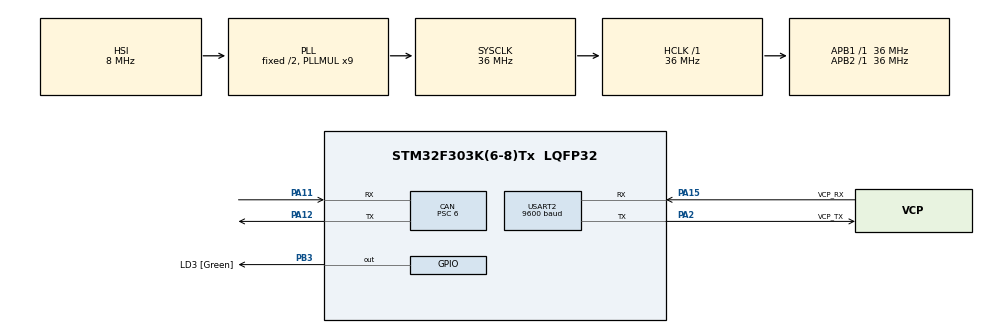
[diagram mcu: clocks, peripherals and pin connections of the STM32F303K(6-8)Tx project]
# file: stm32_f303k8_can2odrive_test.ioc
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CAN.BS1=CAN_BS1_10TQ
CAN.CalculateBaudRate=500000
CAN.CalculateTimeBit=1999.99
CAN.CalculateTimeQuantum=166.66666666666669
CAN.Prescaler=6
Mcu.Family=STM32F3
Mcu.Name=STM32F303K(6-8)Tx
Mcu.Package=LQFP32
NVIC.CAN_RX0_IRQn=true\:0\:0\:false\:false\:true\:true\:true
NVIC.CAN_TX_IRQn=true\:0\:0\:false\:false\:true\:true\:true
NVIC.PriorityGroup=NVIC_PRIORITYGROUP_4
NVIC.USART2_IRQn=true\:1\:0\:true\:false\:true\:true\:true
PA11.Mode=CAN_Activate
PA11.Signal=CAN_RX
PA12.GPIO_PuPd=GPIO_PULLUP
PA12.Mode=CAN_Activate
PA12.Signal=CAN_TX
PA13.GPIO_Label=SWDIO
PA13.Mode=Serial_Wire
PA13.Signal=SYS_JTMS-SWDIO
PA14.GPIO_Label=SWCLK
PA14.Mode=Serial_Wire
PA14.Signal=SYS_JTCK-SWCLK
PA15.GPIO_Label=VCP_RX
PA15.Mode=Asynchronous
PA15.Signal=USART2_RX
PA2.GPIO_Label=VCP_TX
PA2.Mode=Asynchronous
PA2.Signal=USART2_TX
PB3.GPIO_Label=LD3 [Green]
PB3.Signal=GPIO_Output
PF0\ /\ OSC_IN.GPIO_Label=MCO
PF0\ /\ OSC_IN.Mode=HSE-External-Clock-Source
PF0\ /\ OSC_IN.Signal=RCC_OSC_IN
ProjectManager.HeapSize=0x200
ProjectManager.StackSize=0x400
ProjectManager.TargetToolchain=STM32CubeIDE
RCC.AHBFreq_Value=36000000
RCC.APB1Freq_Value=36000000
RCC.APB1TimFreq_Value=36000000
RCC.APB2Freq_Value=36000000
RCC.APB2TimFreq_Value=36000000
RCC.CortexFreq_Value=36000000
RCC.HCLKFreq_Value=36000000
RCC.HSE_VALUE=8000000
RCC.HSI_VALUE=8000000
RCC.PLLMUL=RCC_PLL_MUL9
RCC.SYSCLKFreq_VALUE=36000000
RCC.SYSCLKSourceVirtual=RCC_SYSCLKSOURCE_PLLCLK
USART2.BaudRate=9600
USART2.VirtualMode-Asynchronous=VM_ASYNC
board=NUCLEO-F303K8

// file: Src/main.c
/* USER CODE BEGIN Header */
/**
  ******************************************************************************
  * @file           : main.c
  * @brief          : Main program body
  ******************************************************************************
  * @attention
  *
  * <h2><center>&copy; Copyright (c) 2019 STMicroelectronics.
  * All rights reserved.</center></h2>
  *
  * This software component is licensed by ST under BSD 3-Clause license,
  * the "License"; You may not use this file except in compliance with the
  * License. You may obtain a copy of the License at:
  *                        opensource.org/licenses/BSD-3-Clause
  *
  ******************************************************************************
  */
/* USER CODE END Header */
#include "main.h"

/* USER CODE BEGIN Includes */
#include <stdlib.h>
/* USER CODE END Includes */

CAN_HandleTypeDef hcan;

UART_HandleTypeDef huart2;

/* USER CODE BEGIN PV */

CAN_FilterTypeDef sFilterConfig;
CAN_TxHeaderTypeDef TxHeader;
//CAN_RxHeaderTypeDef RxHeader;
uint8_t TxData[8];
uint8_t RxData[8]={0};
int set_point=10;
int enc_data;
uint8_t gUartReceived=0;
uint32_t TxMailbox;
uint8_t motor_num = 0x010; //odrive axis node id
uint8_t control_mode = 0x00C;//control mode
//uint8_t control_mode = 0x007; //Set Axis Requested State
//uint8_t control_mode = 0x00A; //get encoder val
//uint8_t control_mode = 0x017; //Get Vbus Voltage

/* USER CODE END PV */

void SystemClock_Config(void);
static void MX_GPIO_Init(void);
static void MX_CAN_Init(void);
static void MX_USART2_UART_Init(void);

/* USER CODE BEGIN 0 */
uint8_t uart_data;
char tx_data[]="get data test\r\n";
char tx_data1[]="tx is done\r\n";
char tx_data2[]="\r\n";
uint8_t buffer[256];
int canReceived = 0,canTxHandler=0;
int flag = 1;
/* USER CODE END 0 */

int main(void)
{

  /* MCU Configuration--------------------------------------------------------*/

  /* Reset of all peripherals, Initializes the Flash interface and the Systick. */
  HAL_Init();

  /* Configure the system clock */
  SystemClock_Config();

  /* Initialize all configured peripherals */
  MX_GPIO_Init();
  MX_CAN_Init();
  MX_USART2_UART_Init();
  /* USER CODE BEGIN 2 */

  HAL_UART_Transmit(&huart2,tx_data,sizeof(tx_data),0xFFFF);

  sFilterConfig.FilterBank = 0;
  sFilterConfig.FilterMode = CAN_FILTERMODE_IDMASK;
  sFilterConfig.FilterScale = CAN_FILTERSCALE_32BIT;
  sFilterConfig.FilterIdHigh = 0x0000;
  sFilterConfig.FilterIdLow = 0x0000;
  sFilterConfig.FilterMaskIdHigh = 0x0000;
  sFilterConfig.FilterMaskIdLow = 0x0000;
  sFilterConfig.FilterFIFOAssignment = CAN_RX_FIFO0;
  sFilterConfig.FilterActivation=ENABLE;
  sFilterConfig.SlaveStartFilterBank=14;

  if(HAL_CAN_ConfigFilter(&hcan,&sFilterConfig) != HAL_OK)
  {
    Error_Handler();
  }
  if(HAL_CAN_Start(&hcan)!=HAL_OK)
  {
    Error_Handler();
  }

//  HAL_CAN_ActivateNotification(&hcan, CAN_IT_RX_FIFO0_MSG_PENDING);

  if(HAL_CAN_ActivateNotification(&hcan,CAN_IT_RX_FIFO0_MSG_PENDING | CAN_IT_TX_MAILBOX_EMPTY) != HAL_OK)
  {
	Error_Handler();
  }

  TxHeader.StdId=(motor_num << 5) + (control_mode);
  TxHeader.RTR = 1;//read data
//  TxHeader.RTR = 1;//pos,state,request input(レシーブいらな�?とき�?
  TxHeader.IDE = CAN_ID_STD;
  TxHeader.DLC = 0x08;
  TxHeader.TransmitGlobalTime = DISABLE;

  void encoder_read(void){
	  control_mode = 0x00A;
	  TxHeader.RTR = 2 ;//read data
	  TxHeader.StdId=(motor_num << 5) + (control_mode);

	  TxHeader.DLC = 0x08;

	  uint8_t TxData[8];
	  TxData[0] = 0x00;
	  TxData[1] = 0x00;
	  TxData[2] = 0x00;
	  TxData[3] = 0x00;
	  TxData[4] = 0x00;
	  TxData[5] = 0x00;
	  TxData[6] = 0x00;
	  TxData[7] = 0x00;

	  if (HAL_CAN_AddTxMessage(&hcan,&TxHeader,TxData,&TxMailbox) != HAL_OK)
	  {
	     Error_Handler ();
	  }
  }

  void axis_state_change(uint8_t data){
	  control_mode = 0x007;
	  TxHeader.StdId=(motor_num << 5) + (control_mode);
	  TxHeader.RTR = 0;//read data

	  TxHeader.DLC = 0x04;

	  uint8_t TxData[8];
	  TxData[0] = data;
	  TxData[1] = 0x00;
	  TxData[2] = 0x00;
	  TxData[3] = 0x00;
	  TxData[4] = 0x00;
	  TxData[5] = 0x00;
	  TxData[6] = 0x00;
	  TxData[7] = 0x00;

	  if (HAL_CAN_AddTxMessage(&hcan,&TxHeader,TxData,&TxMailbox) != HAL_OK)
	  {
	     Error_Handler ();
	  }
  }

  void set_controll_mode(void){
	  control_mode = 0x00B;
	  TxHeader.StdId=(motor_num << 5) + (control_mode);
	  TxHeader.RTR = 0;//read data

	  TxHeader.DLC = 0x08;

	  uint8_t TxData[8] = {0};
	  TxData[0] = 0x03;
	  TxData[1] = 0x00;
	  TxData[2] = 0x00;
	  TxData[3] = 0x00;
	  TxData[4] = 0x05;
	  TxData[5] = 0x00;
	  TxData[6] = 0x00;
	  TxData[7] = 0x00;
	  for(int i=0;i<8;i++) printf("txdata is %d\r\n",TxData[i]);

	  if (HAL_CAN_AddTxMessage(&hcan,&TxHeader,TxData,&TxMailbox) != HAL_OK)
	  {
	     Error_Handler ();
	  }

  }
  int ctoi(char c) {
  	switch (c) {
  		case '0': return 0;
  		case '1': return 1;
  		case '2': return 2;
  		case '3': return 3;
  		case '4': return 4;
  		case '5': return 5;
  		case '6': return 6;
  		case '7': return 7;
  		case '8': return 8;
  		case '9': return 9;
  		case 'a': return 0xf;
  		case 'b': return 0xb;
  		case 'c': return 0xc;
  		case 'd': return 0xd;
  		case 'e': return 0xe;
  		case 'f': return 0xf;
  		default: return 0;
  	}
  }

  int ftox(float angle){
	  union { float x; int i; } a;
	  a.x = angle;
	  char test[32];
	  sprintf(test,"0x%08x\n", a.i);
	  printf("test %s\r\n",test);
	  int data =0;
	  data=test[9]-'0';
	  data+=ctoi(test[8])<<4;
	  data+=ctoi(test[7])<<8;
	  data+=ctoi(test[6])<<12;
	  data+=ctoi(test[5])<<16;
	  data+=ctoi(test[4])<<20;
	  data+=ctoi(test[3])<<24;
	  data+=ctoi(test[2])<<28;
	  printf("data %08x\r\n",data);

	  return data;
  }

  void pos_change(float data){
	  control_mode = 0x00C;
	  TxHeader.StdId=(motor_num << 5) + (control_mode);
	  TxHeader.RTR = 0;//read data

	  TxHeader.DLC = 0x08;

	  int set_pos = ftox(data);
	  uint8_t TxData[8] = {0};
	  TxData[0] = set_pos & 0xFF;
	  TxData[1] = (set_pos>>8)&0xFF ;
	  TxData[2] = (set_pos>>16)&0xFF;
	  TxData[3] = (set_pos>>24)&0xFF;
	  TxData[4] = 0xFF;
	  TxData[5] = 0xFF;
	  TxData[6] = 0xFF;
	  TxData[7] = 0xFF;

//	  TxData[0] = 0x00;
//	  TxData[1] = 0x00;
//	  TxData[2] = 0xA0;
//	  TxData[3] = 0x40;
//	  TxData[4] = 0x00;
//	  TxData[5] = 0x00;
//	  TxData[6] = 0x00;
//	  TxData[7] = 0x00;

	  if (HAL_CAN_AddTxMessage(&hcan,&TxHeader,TxData,&TxMailbox) != HAL_OK)
	  {
	     Error_Handler ();
	  }
  }

  HAL_UART_Receive_IT(&huart2, buffer,1);

//  axis_state_change(0x08);
//  HAL_Delay(10);

  /* USER CODE END 2 */

  /* Infinite loop */
  while (1)
  {

    /* USER CODE BEGIN 3 */

	printf("------mode select---------\r\n");
	printf("encoder read: 1\r\n");
	printf("CLOSED_LOOP : 2\r\n");
	printf("IDLE        : 3\r\n");
	printf("pos mode    : 4\r\n");
	while(gUartReceived==0){
	}

	int mode = buffer[0];
	gUartReceived=0;

	switch(mode){
	case 49:
		printf("encoder reading... 1\r\n");
		while(gUartReceived==0){
			encoder_read();
			HAL_Delay(10);
		}
		gUartReceived=0;
		break;

	case 50:
		printf("Closed loop\r\n");
		axis_state_change(0x08);
		break;

	case 51:
		printf("IDLE\r\n");
		axis_state_change(0x01);
		break;

	case 52:
		printf("pos select : 0 ~ 6\r\n");
		printf("quit : press q  \r\n");
//		set_controll_mode();

		while(1){
			while(gUartReceived==0){
//				pos_change(10000);
//				HAL_Delay(10);
			}
			int pos = buffer[0]-'0';
			printf("pos is : %d\r\n",pos);
			gUartReceived=0;
			if(buffer[0]=='q') break;

			pos_change(pos);
		}

	default:
		printf("Err: this mode is not found : %d\r\n",mode);

	}

//	  if(gUartReceived){
//		  printf("mailbox data :  %d\r\n",HAL_CAN_GetTxMailboxesFreeLevel(&hcan));
//		  if(buffer[0]=='1'){
//			  axis_state_change(0x08);
//			  printf("Closed loop\r\n");
//		  }
//		  else if(buffer[0]=='2'){
//			  axis_state_change(0x01);
//			  printf("IDLE\r\n");
//		  }else if(buffer[0]=='3'){
//			  pos_change(0x00);
//		  }
//		  gUartReceived=0;
//		  HAL_GPIO_WritePin(GPIOB,GPIO_PIN_3,1);
//		  HAL_Delay(100);
//		  HAL_GPIO_WritePin(GPIOB,GPIO_PIN_3,0);
//	  }
//	  printf("mailbox data :  %d\r\n",HAL_CAN_GetTxMailboxesFreeLevel(&hcan));
//	  encoder_read();

//	  printf("mailbox data :  %d\r\n",HAL_CAN_GetTxMailboxesFreeLevel(&hcan));
//	  for(int i=0;i<100;i++){
//		  encoder_read();
//		  HAL_Delay(10);
//	  }
//	  HAL_Delay(1000);

//	  pos_change();
//	  for(int i=0;i<20;i++){
//		printf("mailbox data :  %d\r\n",HAL_CAN_GetTxMailboxesFreeLevel(&hcan));
//		  pos_change();
//		  axis_state_change();
//		  HAL_Delay(10);
//	  }

//	  if (HAL_CAN_AddTxMessage(&hcan,&TxHeader,TxData,&TxMailbox) != HAL_OK)
//	  {
//	     Error_Handler ();
//	  }

//	  HAL_CAN_AddTxMessage(&hcan,&TxHeader,TxData,&TxMailbox);

//	  while(canTxHandler==0){
//		  HAL_CAN_AddTxMessage(&hcan,&TxHeader,TxData,&TxMailbox);
//		  printf("test %d\r\n",HAL_CAN_GetTxMailboxesFreeLevel(&hcan));
//	  }
//	  canTxHandler=0;
//	  HAL_Delay(5000);
//	  canTxHandler=0;
//
//	  while(canTxHandler==0){
//		  TxData[0] = 0x1;
//	  	  HAL_CAN_AddTxMessage(&hcan,&TxHeader,TxData,&TxMailbox);
//	  	  printf("test3 %d\r\n",HAL_CAN_GetTxMailboxesFreeLevel(&hcan));
//	  }
//	  HAL_Delay(5000);

//	HAL_UART_Transmit(&huart2,tx_data,sizeof(tx_data),0xFFFF);

	//	for(int j=0; j< 4; j++){
//		HAL_UART_Transmit(&huart2,&RxData[j],1,0xFFFF);
//
//		HAL_Delay(10);
//	}
//	HAL_UART_Transmit(&huart2,tx_data2,sizeof(tx_data2),0xFFFF);
//	HAL_Delay(10);
//	//HAL_UART_Transmit(&huart2,RxData,8,0xFFFF);
//	for(int j=4; j< 8; j++){
//		HAL_UART_Transmit(&huart2,&RxData[j],1,0xFFFF);
//		HAL_Delay(10);
//	}
  }
  /* USER CODE END 3 */
}

void SystemClock_Config(void)
{
  RCC_OscInitTypeDef RCC_OscInitStruct = {0};
  RCC_ClkInitTypeDef RCC_ClkInitStruct = {0};

  /** Initializes the RCC Oscillators according to the specified parameters
  * in the RCC_OscInitTypeDef structure.
  */
  RCC_OscInitStruct.OscillatorType = RCC_OSCILLATORTYPE_HSI;
  RCC_OscInitStruct.HSIState = RCC_HSI_ON;
  RCC_OscInitStruct.HSICalibrationValue = RCC_HSICALIBRATION_DEFAULT;
  RCC_OscInitStruct.PLL.PLLState = RCC_PLL_ON;
  RCC_OscInitStruct.PLL.PLLSource = RCC_PLLSOURCE_HSI;
  RCC_OscInitStruct.PLL.PLLMUL = RCC_PLL_MUL9;
  if (HAL_RCC_OscConfig(&RCC_OscInitStruct) != HAL_OK)
  {
    Error_Handler();
  }
  /** Initializes the CPU, AHB and APB buses clocks
  */
  RCC_ClkInitStruct.ClockType = RCC_CLOCKTYPE_HCLK|RCC_CLOCKTYPE_SYSCLK
                              |RCC_CLOCKTYPE_PCLK1|RCC_CLOCKTYPE_PCLK2;
  RCC_ClkInitStruct.SYSCLKSource = RCC_SYSCLKSOURCE_PLLCLK;
  RCC_ClkInitStruct.AHBCLKDivider = RCC_SYSCLK_DIV1;
  RCC_ClkInitStruct.APB1CLKDivider = RCC_HCLK_DIV1;
  RCC_ClkInitStruct.APB2CLKDivider = RCC_HCLK_DIV1;

  if (HAL_RCC_ClockConfig(&RCC_ClkInitStruct, FLASH_LATENCY_1) != HAL_OK)
  {
    Error_Handler();
  }
}

static void MX_CAN_Init(void)
{

  hcan.Instance = CAN;
  hcan.Init.Prescaler = 6;
  hcan.Init.Mode = CAN_MODE_NORMAL;
  hcan.Init.SyncJumpWidth = CAN_SJW_1TQ;
  hcan.Init.TimeSeg1 = CAN_BS1_10TQ;
  hcan.Init.TimeSeg2 = CAN_BS2_1TQ;
  hcan.Init.TimeTriggeredMode = DISABLE;
  hcan.Init.AutoBusOff = DISABLE;
  hcan.Init.AutoWakeUp = DISABLE;
  hcan.Init.AutoRetransmission = DISABLE;
  hcan.Init.ReceiveFifoLocked = DISABLE;
  hcan.Init.TransmitFifoPriority = DISABLE;
  if (HAL_CAN_Init(&hcan) != HAL_OK)
  {
    Error_Handler();
  }

}

static void MX_USART2_UART_Init(void)
{

  huart2.Instance = USART2;
  huart2.Init.BaudRate = 9600;
  huart2.Init.WordLength = UART_WORDLENGTH_8B;
  huart2.Init.StopBits = UART_STOPBITS_1;
  huart2.Init.Parity = UART_PARITY_NONE;
  huart2.Init.Mode = UART_MODE_TX_RX;
  huart2.Init.HwFlowCtl = UART_HWCONTROL_NONE;
  huart2.Init.OverSampling = UART_OVERSAMPLING_16;
  huart2.Init.OneBitSampling = UART_ONE_BIT_SAMPLE_DISABLE;
  huart2.AdvancedInit.AdvFeatureInit = UART_ADVFEATURE_NO_INIT;
  if (HAL_UART_Init(&huart2) != HAL_OK)
  {
    Error_Handler();
  }

}

static void MX_GPIO_Init(void)
{
  GPIO_InitTypeDef GPIO_InitStruct = {0};

  /* GPIO Ports Clock Enable */
  __HAL_RCC_GPIOF_CLK_ENABLE();
  __HAL_RCC_GPIOA_CLK_ENABLE();
  __HAL_RCC_GPIOB_CLK_ENABLE();

  /*Configure GPIO pin Output Level */
  HAL_GPIO_WritePin(LD3_GPIO_Port, LD3_Pin, GPIO_PIN_RESET);

  /*Configure GPIO pin : LD3_Pin */
  GPIO_InitStruct.Pin = LD3_Pin;
  GPIO_InitStruct.Mode = GPIO_MODE_OUTPUT_PP;
  GPIO_InitStruct.Pull = GPIO_NOPULL;
  GPIO_InitStruct.Speed = GPIO_SPEED_FREQ_LOW;
  HAL_GPIO_Init(LD3_GPIO_Port, &GPIO_InitStruct);

}

/* USER CODE BEGIN 4 */
void HAL_UART_RxCpltCallback(UART_HandleTypeDef *huart)
{
	gUartReceived = 1;
	HAL_UART_Receive_IT(&huart2, buffer,1);
}

int _write(int file, char *ptr, int len)
{
  HAL_UART_Transmit(&huart2,(uint8_t *)ptr,len,50);
  return len;
}

void HAL_CAN_TxMailbox0CompleteCallback(CAN_HandleTypeDef *hcan)
{
	canTxHandler = 1;
	HAL_GPIO_WritePin(GPIOB,GPIO_PIN_3,1);
	printf("tx done \r\n");
}

void HAL_CAN_RxFifo0MsgPendingCallback(CAN_HandleTypeDef *hcan_)
{
  CAN_RxHeaderTypeDef RxHeader;
  canReceived = 1;
  HAL_CAN_GetRxMessage(&hcan, CAN_RX_FIFO0, &RxHeader, RxData);
  if (RxData[0]!=0){
	enc_data=RxData[4] & 0xFF;
	enc_data+=(RxData[5] & 0xFF) <<8;
	enc_data+=(RxData[6] & 0xFF)<<16;
	enc_data+=(RxData[7] & 0xFF)<<24;
	printf("enc_data : %d\r\n",enc_data);
  }

//  if(HAL_CAN_ActivateNotification(&hcan,CAN_IT_RX_FIFO0_MSG_PENDING | CAN_IT_TX_MAILBOX_EMPTY) != HAL_OK)
//  {
//	Error_Handler();
//  }

  flag *= -1;
  if(flag >0){
	  HAL_GPIO_WritePin(GPIOB,GPIO_PIN_3,1);
  }else{
	  HAL_GPIO_WritePin(GPIOB,GPIO_PIN_3,0);
  }

}

/* USER CODE END 4 */

void Error_Handler(void)
{
  /* USER CODE BEGIN Error_Handler_Debug */
  /* User can add his own implementation to report the HAL error return state */
	__disable_irq();
	  while (1)
	  {
		  HAL_UART_Transmit(&huart2,tx_data,sizeof(tx_data),0xFFFF);
	  }
  /* USER CODE END Error_Handler_Debug */
}

/************************ (C) COPYRIGHT STMicroelectronics *****END OF FILE****/
